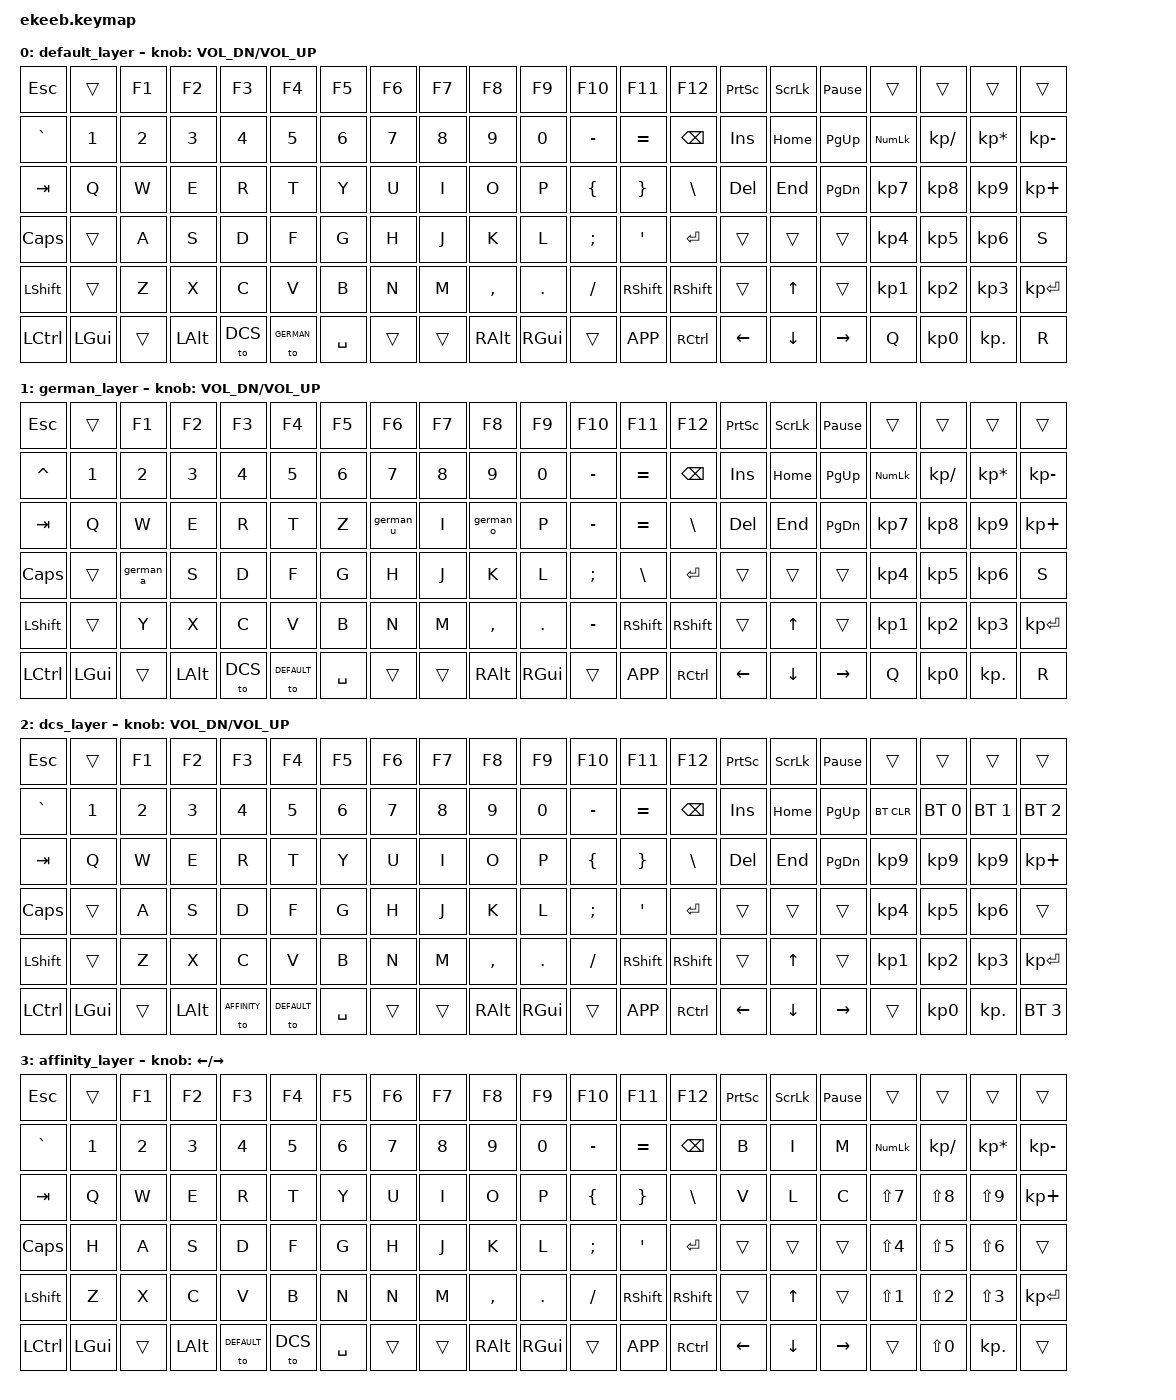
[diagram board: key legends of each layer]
/*
 * Copyright (c) 2021 The ZMK Contributors
 *
 * SPDX-License-Identifier: MIT
 */

#include <behaviors.dtsi>
#include <dt-bindings/zmk/keys.h>
#include <dt-bindings/zmk/bt.h>
#include <dt-bindings/zmk/ext_power.h>

#define DEFAULT 0
#define GERMAN 1
#define DCS  2
#define AFFINITY 3

#define TIMEOUT 300

&encoder_1 {
    status = "okay";
};

/ {
    combos {
        compatible = "zmk,combos";
        combo_btclr {
            timeout-ms = <TIMEOUT>;
            key-positions = <0 3>;
            bindings = <&bt BT_CLR>;
        };
        combo_reset {
            timeout-ms = <TIMEOUT>;
            key-positions = <0 1>;
            bindings = <&sys_reset>;
        };
        combo_bootloader {
            timeout-ms = <TIMEOUT>;
            key-positions = <0 2>;
            bindings = <&bootloader>;
        };
        combo_bt_nxt {
            timeout-ms = <TIMEOUT>;
            key-positions = <0 4>;
            bindings = <&bt BT_NXT>;
        };
        combo_mute {
            timeout-ms = <TIMEOUT>;
            key-positions = <0 5>;
            bindings = <&kp C_MUTE>;
        };
        combo_bt1 {
            timeout-ms = <TIMEOUT>;
            key-positions = <0 6>;
            bindings = <&bt BT_SEL 0>;
        };
        combo_bt2 {
            timeout-ms = <TIMEOUT>;
            key-positions = <0 7>;
            bindings = <&bt BT_SEL 1>;
        };
        combo_bt3 {
            timeout-ms = <TIMEOUT>;
            key-positions = <0 8>;
            bindings = <&bt BT_SEL 2>;
        };
        combo_bt4 {
            timeout-ms = <TIMEOUT>;
            key-positions = <0 9>;
            bindings = <&bt BT_SEL 3>;
        };
        combo_bt5 {
            timeout-ms = <TIMEOUT>;
            key-positions = <0 10>;
            bindings = <&bt BT_SEL 4>;
        };
    };
    
    behaviors {
        // AltGr + U = ü, Shift + AltGr + U = Ü
        german_u: german_u {
            compatible = "zmk,behavior-mod-morph";
            #binding-cells = <0>;
            bindings = <&kp U>, <&kp RA(U)>;
            mods = <(MOD_RALT)>;
        };
        // AltGr + O = ö, Shift + AltGr + O = Ö
        german_o: german_o {
            compatible = "zmk,behavior-mod-morph";
            #binding-cells = <0>;
            bindings = <&kp O>, <&kp RA(O)>;
            mods = <(MOD_RALT)>;
        };
        // AltGr + A = ä, Shift + AltGr + A = Ä
        german_a: german_a {
            compatible = "zmk,behavior-mod-morph";
            #binding-cells = <0>;
            bindings = <&kp A>, <&kp RA(A)>;
            mods = <(MOD_RALT)>;
        };
    };

    sensors {
        compatible = "zmk,keymap-sensors";
        sensors = <&encoder_1>;
    };

    keymap0: keymap {
        compatible = "zmk,keymap";
        default_layer {
            bindings = <
                &kp ESC     &trans    &kp F1  &kp F2    &kp F3  &kp F4  &kp F5     &kp F6  &kp F7  &kp F8     &kp F9    &kp F10    &kp F11     &kp F12       &kp PSCRN  &kp SLCK  &kp PAUSE_BREAK    &trans      &trans        &trans           &trans     
                &kp GRAVE   &kp N1    &kp N2  &kp N3    &kp N4  &kp N5  &kp N6     &kp N7  &kp N8  &kp N9     &kp N0    &kp MINUS  &kp EQUAL   &kp BSPC      &kp INS    &kp HOME  &kp PG_UP          &kp KP_NUM  &kp KP_SLASH  &kp KP_ASTERISK  &kp KP_MINUS 
                &kp TAB     &kp Q     &kp W   &kp E     &kp R   &kp T   &kp Y      &kp U   &kp I   &kp O      &kp P     &kp LBRC   &kp RBRC    &kp BSLH      &kp DEL    &kp END   &kp PG_DN          &kp KP_N7   &kp KP_N8     &kp KP_N9        &kp KP_PLUS 
                &kp CAPS    &trans    &kp A   &kp S     &kp D   &kp F   &kp G      &kp H   &kp J   &kp K      &kp L     &kp SEMI   &kp APOS    &kp ENTER     &trans     &trans    &trans             &kp KP_N4   &kp KP_N5     &kp KP_N6        &kp S     
                &kp LSHIFT  &trans    &kp Z   &kp X     &kp C   &kp V   &kp B      &kp N   &kp M   &kp COMMA  &kp DOT   &kp SLASH  &kp RSHIFT  &kp RSHIFT    &trans     &kp UP    &trans             &kp KP_N1   &kp KP_N2     &kp KP_N3        &kp KP_ENTER 
                &kp LCTRL   &kp LGUI  &trans  &kp LALT  &to DCS &to GERMAN &kp SPACE  &trans  &trans  &kp RALT   &kp RGUI  &trans     &kp K_APP   &kp RCTRL     &kp LEFT   &kp DOWN  &kp RIGHT          &kp Q       &kp KP_N0     &kp KP_DOT       &kp R    
            >;
            sensor-bindings = <&inc_dec_kp C_VOL_DN C_VOL_UP>;
        };
        
        german_layer {
            bindings = <
                &kp ESC     &trans    &kp F1  &kp F2    &kp F3  &kp F4  &kp F5     &kp F6  &kp F7  &kp F8     &kp F9    &kp F10    &kp F11     &kp F12       &kp PSCRN  &kp SLCK  &kp PAUSE_BREAK    &trans      &trans        &trans           &trans     
                &kp CARET   &kp N1    &kp N2  &kp N3    &kp N4  &kp N5  &kp N6     &kp N7  &kp N8  &kp N9     &kp N0    &kp MINUS  &kp EQUAL   &kp BSPC      &kp INS    &kp HOME  &kp PG_UP          &kp KP_NUM  &kp KP_SLASH  &kp KP_ASTERISK  &kp KP_MINUS 
                &kp TAB     &kp Q     &kp W   &kp E     &kp R   &kp T   &kp Z      &german_u &kp I  &german_o  &kp P     &kp MINUS  &kp EQUAL   &kp BSLH      &kp DEL    &kp END   &kp PG_DN          &kp KP_N7   &kp KP_N8     &kp KP_N9        &kp KP_PLUS 
                &kp CAPS    &trans    &german_a &kp S   &kp D   &kp F   &kp G      &kp H   &kp J   &kp K      &kp L     &kp SEMI   &kp BSLH    &kp ENTER     &trans     &trans    &trans             &kp KP_N4   &kp KP_N5     &kp KP_N6        &kp S     
                &kp LSHIFT  &trans    &kp Y   &kp X     &kp C   &kp V   &kp B      &kp N   &kp M   &kp COMMA  &kp DOT   &kp MINUS  &kp RSHIFT  &kp RSHIFT    &trans     &kp UP    &trans             &kp KP_N1   &kp KP_N2     &kp KP_N3        &kp KP_ENTER 
                &kp LCTRL   &kp LGUI  &trans  &kp LALT  &to DCS &to DEFAULT &kp SPACE &trans &trans &kp RALT   &kp RGUI  &trans     &kp K_APP   &kp RCTRL     &kp LEFT   &kp DOWN  &kp RIGHT          &kp Q       &kp KP_N0     &kp KP_DOT       &kp R    
            >;
            sensor-bindings = <&inc_dec_kp C_VOL_DN C_VOL_UP>;
        };
        
        dcs_layer {
            bindings = <
                &kp ESC     &trans    &kp F1  &kp F2    &kp F3  &kp F4  &kp F5     &kp F6  &kp F7  &kp F8     &kp F9    &kp F10    &kp F11     &kp F12       &kp PSCRN  &kp SLCK  &kp PAUSE_BREAK    &trans      &trans        &trans           &trans     
                &kp GRAVE   &kp N1    &kp N2  &kp N3    &kp N4  &kp N5  &kp N6     &kp N7  &kp N8  &kp N9     &kp N0    &kp MINUS  &kp EQUAL   &kp BSPC      &kp INS    &kp HOME  &kp PG_UP          &bt BT_CLR  &bt BT_SEL 0  &bt BT_SEL 1     &bt BT_SEL 2 
                &kp TAB     &kp Q     &kp W   &kp E     &kp R   &kp T   &kp Y      &kp U   &kp I   &kp O      &kp P     &kp LBRC   &kp RBRC    &kp BSLH      &kp DEL    &kp END   &kp PG_DN          &kp KP_N9   &kp KP_N9     &kp KP_N9        &kp KP_PLUS 
                &kp CAPS    &trans    &kp A   &kp S     &kp D   &kp F   &kp G      &kp H   &kp J   &kp K      &kp L     &kp SEMI   &kp APOS    &kp ENTER     &trans     &trans    &trans             &kp KP_N4   &kp KP_N5     &kp KP_N6        &trans     
                &kp LSHIFT  &trans    &kp Z   &kp X     &kp C   &kp V   &kp B      &kp N   &kp M   &kp COMMA  &kp DOT   &kp SLASH  &kp RSHIFT  &kp RSHIFT    &trans     &kp UP    &trans             &kp KP_N1   &kp KP_N2     &kp KP_N3        &kp KP_ENTER 
                &kp LCTRL   &kp LGUI  &trans  &kp LALT  &to AFFINITY &to DEFAULT &kp SPACE &trans &trans &kp RALT &kp RGUI  &trans     &kp K_APP   &kp RCTRL     &kp LEFT   &kp DOWN  &kp RIGHT          &trans      &kp KP_N0     &kp KP_DOT       &bt BT_SEL 3    
            >;
            sensor-bindings = <&inc_dec_kp C_VOL_DN C_VOL_UP>;
        };

        affinity_layer {
            bindings = <
                &kp ESC     &trans    &kp F1  &kp F2    &kp F3  &kp F4  &kp F5     &kp F6  &kp F7  &kp F8     &kp F9    &kp F10    &kp F11     &kp F12       &kp PSCRN  &kp SLCK  &kp PAUSE_BREAK    &trans      &trans        &trans           &trans     
                &kp GRAVE   &kp N1    &kp N2  &kp N3    &kp N4  &kp N5  &kp N6     &kp N7  &kp N8  &kp N9     &kp N0    &kp MINUS  &kp EQUAL   &kp BSPC      &kp B      &kp I     &kp M              &kp KP_NUM  &kp KP_SLASH  &kp KP_ASTERISK  &kp KP_MINUS 
                &kp TAB     &kp Q     &kp W   &kp E     &kp R   &kp T   &kp Y      &kp U   &kp I   &kp O      &kp P     &kp LBRC   &kp RBRC    &kp BSLH      &kp V      &kp L     &kp C              &kp LS(N7)  &kp LS(N8)    &kp LS(N9)       &kp KP_PLUS 
                &kp CAPS    &kp H     &kp A   &kp S     &kp D   &kp F   &kp G      &kp H   &kp J   &kp K      &kp L     &kp SEMI   &kp APOS    &kp ENTER     &trans     &trans    &trans             &kp LS(N4)  &kp LS(N5)    &kp LS(N6)       &trans     
                &kp LSHIFT  &kp Z     &kp X   &kp C     &kp V   &kp B   &kp N      &kp N   &kp M   &kp COMMA  &kp DOT   &kp SLASH  &kp RSHIFT  &kp RSHIFT    &trans     &kp UP    &trans             &kp LS(N1)  &kp LS(N2)    &kp LS(N3)       &kp KP_ENTER 
                &kp LCTRL   &kp LGUI  &trans  &kp LALT  &to DEFAULT &to DCS &kp SPACE &trans &trans &kp RALT   &kp RGUI  &trans     &kp K_APP   &kp RCTRL     &kp LEFT   &kp DOWN  &kp RIGHT          &trans      &kp LS(N0)    &kp KP_DOT       &trans    
            >;
            sensor-bindings = <&inc_dec_kp LEFT RIGHT>;  // Use left/right for brush size/opacity adjustment
        };
    };
};
